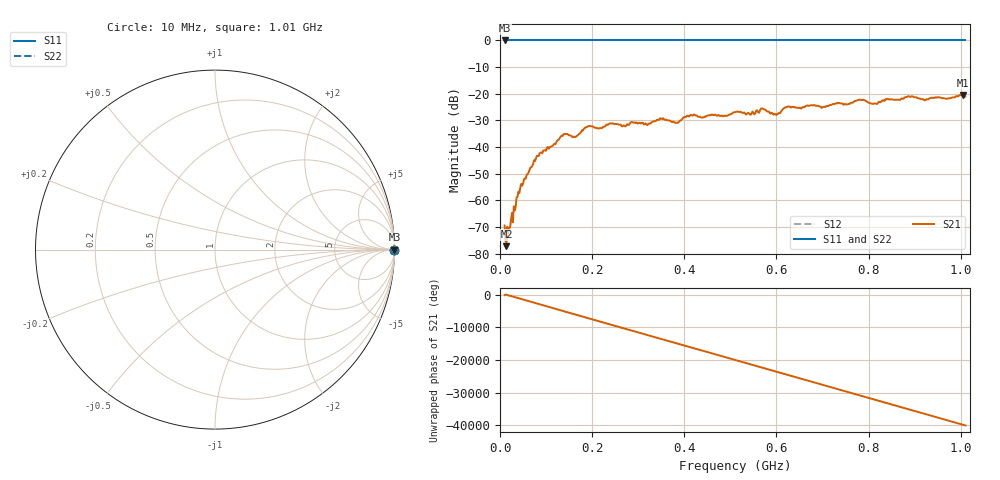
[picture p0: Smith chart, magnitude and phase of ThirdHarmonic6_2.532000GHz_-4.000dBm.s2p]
! 8/17/2025 5:03:17 AM
! C:\ANRITSUVNA\TEMP\TEMP.S2P
! CHANNEL.1
! TR.MEASUREMENT
! RAW.DATA
! RF.CORRECTION.OFF
! AVERAGING.OFF
! IF.BANDWIDTH: 5KHZ
! SWEEPTYPE:  FREQ.SWEEP(Linear)
! Reference Plane Port Info
! PORT:  PORT1  PORT2
! DISTANCE:  0  m  0  m
! TIME:  0  s  0  s
! PHASE.OFFSET:  0  deg.  0  deg.
! LOSS:  0  dB  0  dB
! REF.LOSS:  0  dB  0  dB
! REF.FREQ:  0  Hz  0  Hz
! Power Info
! POWER:  -20  dBm  -20  dBm
! EFF.POWER:  -20  dBm  -20  dBm
! SOURCE.ATTEN:  0  dB  0  dB
! TEST.ATTEN:  0  dB  0  dB
# GHZ S RI R 50.0
! FREQ.GHZ  S11RE  S11IM  S21RE  S21IM  S12RE  S12IM  S22RE  S22IM
!; PortSelection: Port_12
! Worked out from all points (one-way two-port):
!   501 points, 10 MHz to 1.01 GHz, reference 50 ohm
!   highest |S21| = -20.46 dB at 1.004 GHz (marker M1); lowest = -77.2 dB at 14 MHz (marker M2)
!   lowest |S11| = 0.0 dB at 10 MHz (marker M3)
!   |S11| at or under -10 dB: nowhere
!   |S22| runs from 0.0 to 0.0 dB; largest |S21 - S12| = 1.1
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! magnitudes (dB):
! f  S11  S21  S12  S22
! 10 MHz  0.0  -69.5  0.0  0.0
! 14 MHz  0.0  -77.2  0.0  0.0
! 18 MHz  0.0  -72.4  0.0  0.0
! 42 MHz  0.0  -57.3  0.0  0.0
! 78 MHz  0.0  -44.3  0.0  0.0
! 136 MHz  0.0  -35.8  0.0  0.0
! 162 MHz  0.0  -36.2  0.0  0.0
! 178 MHz  0.0  -33.7  0.0  0.0
! 192 MHz  0.0  -32.2  0.0  0.0
! 322 MHz  0.0  -31.3  0.0  0.0
! 344 MHz  0.0  -29.8  0.0  0.0
! 384 MHz  0.0  -30.9  0.0  0.0
! 410 MHz  0.0  -28.6  0.0  0.0
! 510 MHz  0.0  -26.9  0.0  0.0
! 570 MHz  0.0  -25.5  0.0  0.0
! 598 MHz  0.0  -27.7  0.0  0.0
! 622 MHz  0.0  -25.0  0.0  0.0
! 678 MHz  0.0  -24.4  0.0  0.0
! 814 MHz  0.0  -23.6  0.0  0.0
! 844 MHz  0.0  -22.1  0.0  0.0
! 1.004 GHz  0.0  -20.5  0.0  0.0
! 1.01 GHz  0.0  -21.0  0.0  0.0
